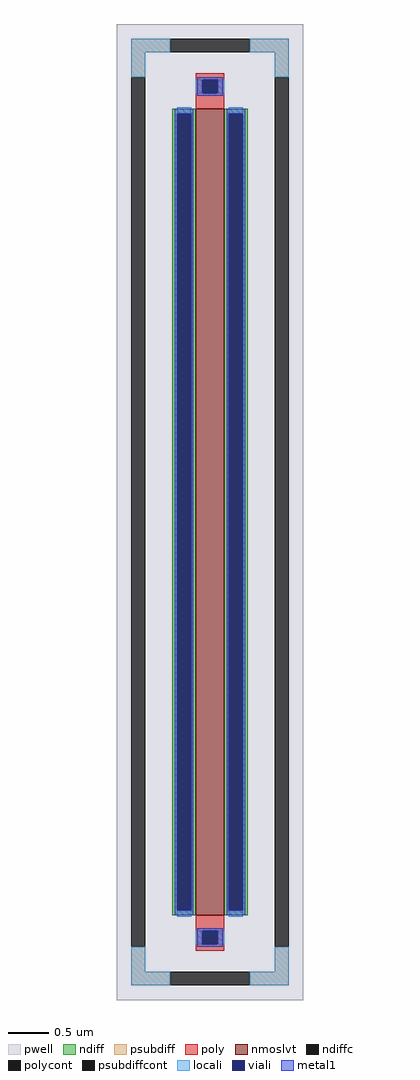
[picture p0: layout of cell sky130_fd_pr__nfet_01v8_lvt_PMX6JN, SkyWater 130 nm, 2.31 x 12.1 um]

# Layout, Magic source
magic
tech sky130A
magscale 1 2
<< pwell >>
rect -231 -1210 231 1210
<< nmoslvt >>
rect -35 -1000 35 1000
<< ndiff >>
rect -93 988 -35 1000
rect -93 -988 -81 988
rect -47 -988 -35 988
rect -93 -1000 -35 -988
rect 35 988 93 1000
rect 35 -988 47 988
rect 81 -988 93 988
rect 35 -1000 93 -988
<< ndiffc >>
rect -81 -988 -47 988
rect 47 -988 81 988
<< psubdiff >>
rect -195 1140 -99 1174
rect 99 1140 195 1174
rect -195 1078 -161 1140
rect 161 1078 195 1140
rect -195 -1140 -161 -1078
rect 161 -1140 195 -1078
rect -195 -1174 -99 -1140
rect 99 -1174 195 -1140
<< psubdiffcont >>
rect -99 1140 99 1174
rect -195 -1078 -161 1078
rect 161 -1078 195 1078
rect -99 -1174 99 -1140
<< poly >>
rect -35 1072 35 1088
rect -35 1038 -19 1072
rect 19 1038 35 1072
rect -35 1000 35 1038
rect -35 -1038 35 -1000
rect -35 -1072 -19 -1038
rect 19 -1072 35 -1038
rect -35 -1088 35 -1072
<< polycont >>
rect -19 1038 19 1072
rect -19 -1072 19 -1038
<< locali >>
rect -195 1140 -99 1174
rect 99 1140 195 1174
rect -195 1078 -161 1140
rect 161 1078 195 1140
rect -35 1038 -19 1072
rect 19 1038 35 1072
rect -81 988 -47 1004
rect -81 -1004 -47 -988
rect 47 988 81 1004
rect 47 -1004 81 -988
rect -35 -1072 -19 -1038
rect 19 -1072 35 -1038
rect -195 -1140 -161 -1078
rect 161 -1140 195 -1078
rect -195 -1174 -99 -1140
rect 99 -1174 195 -1140
<< viali >>
rect -19 1038 19 1072
rect -81 -988 -47 988
rect 47 -988 81 988
rect -19 -1072 19 -1038
<< metal1 >>
rect -31 1072 31 1078
rect -31 1038 -19 1072
rect 19 1038 31 1072
rect -31 1032 31 1038
rect -87 988 -41 1000
rect -87 -988 -81 988
rect -47 -988 -41 988
rect -87 -1000 -41 -988
rect 41 988 87 1000
rect 41 -988 47 988
rect 81 -988 87 988
rect 41 -1000 87 -988
rect -31 -1038 31 -1032
rect -31 -1072 -19 -1038
rect 19 -1072 31 -1038
rect -31 -1078 31 -1072
<< properties >>
string FIXED_BBOX -178 -1157 178 1157
string gencell sky130_fd_pr__nfet_01v8_lvt
string library sky130
string parameters w 10 l 0.35 m 1 nf 1 diffcov 100 polycov 100 guard 1 glc 1 grc 1 gtc 1 gbc 1 tbcov 100 rlcov 100 topc 1 botc 1 poverlap 0 doverlap 1 lmin 0.15 wmin 0.42 compatible {sky130_fd_pr__nfet_01v8 sky130_fd_pr__nfet_01v8_lvt  sky130_fd_bs_flash__special_sonosfet_star  sky130_fd_pr__nfet_g5v0d10v5 sky130_fd_pr__nfet_05v0_nvt  sky130_fd_pr__nfet_03v3_nvt} full_metal 1 viasrc 100 viadrn 100 viagate 100 viagb 0 viagr 0 viagl 0 viagt 0
<< end >>
